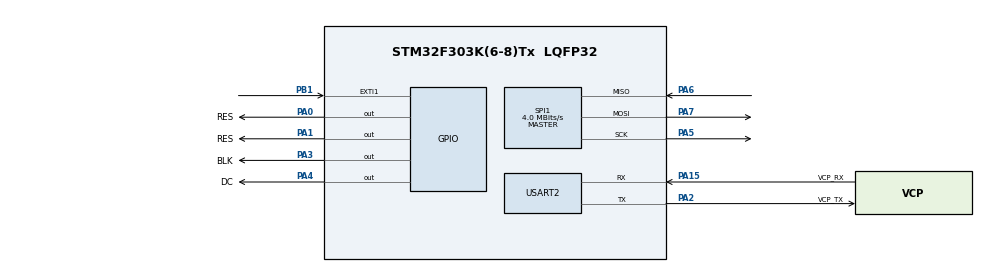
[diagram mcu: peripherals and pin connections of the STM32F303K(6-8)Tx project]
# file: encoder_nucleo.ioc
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Mcu.Family=STM32F3
Mcu.Name=STM32F303K(6-8)Tx
Mcu.Package=LQFP32
NVIC.EXTI1_IRQn=true\:0\:0\:false\:false\:true\:true\:true\:true
NVIC.PriorityGroup=NVIC_PRIORITYGROUP_4
PA0.GPIO_Label=RES
PA0.GPIO_PuPd=GPIO_PULLDOWN
PA0.Signal=GPIO_Output
PA1.GPIO_Label=RES
PA1.GPIO_PuPd=GPIO_PULLDOWN
PA1.Signal=GPIO_Output
PA13.GPIO_Label=SWDIO
PA13.Mode=Serial_Wire
PA13.Signal=SYS_JTMS-SWDIO
PA14.GPIO_Label=SWCLK
PA14.Mode=Serial_Wire
PA14.Signal=SYS_JTCK-SWCLK
PA15.GPIO_Label=VCP_RX
PA15.Mode=Asynchronous
PA15.Signal=USART2_RX
PA2.GPIO_Label=VCP_TX
PA2.Mode=Asynchronous
PA2.Signal=USART2_TX
PA3.GPIO_Label=BLK
PA3.GPIO_PuPd=GPIO_PULLDOWN
PA3.Signal=GPIO_Output
PA4.GPIO_Label=DC
PA4.GPIO_PuPd=GPIO_PULLDOWN
PA4.Signal=GPIO_Output
PA5.Mode=Full_Duplex_Master
PA5.Signal=SPI1_SCK
PA6.Mode=Full_Duplex_Master
PA6.Signal=SPI1_MISO
PA7.Mode=Full_Duplex_Master
PA7.Signal=SPI1_MOSI
PB1.GPIO_ModeDefaultEXTI=GPIO_MODE_IT_FALLING
PB1.GPIO_PuPd=GPIO_PULLUP
PB1.Signal=GPXTI1
PF0\ /\ OSC_IN.GPIO_Label=MCO
PF0\ /\ OSC_IN.Mode=HSE-External-Clock-Source
PF0\ /\ OSC_IN.Signal=RCC_OSC_IN
ProjectManager.HeapSize=0x200
ProjectManager.StackSize=0x400
ProjectManager.TargetToolchain=STM32CubeIDE
RCC.AHBFreq_Value=8000000
RCC.APB1Freq_Value=8000000
RCC.APB2Freq_Value=8000000
RCC.CortexFreq_Value=8000000
RCC.HSE_VALUE=8000000
RCC.HSI_VALUE=8000000
RCC.SYSCLKFreq_VALUE=8000000
SPI1.CalculateBaudRate=4.0 MBits/s
SPI1.DataSize=SPI_DATASIZE_8BIT
SPI1.Direction=SPI_DIRECTION_2LINES
SPI1.Mode=SPI_MODE_MASTER
SPI1.VirtualType=VM_MASTER
USART2.VirtualMode-Asynchronous=VM_ASYNC
board=NUCLEO-F303K8

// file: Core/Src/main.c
/* USER CODE BEGIN Header */
/**
  ******************************************************************************
  * @file           : main.c
  * @brief          : Main program body
  ******************************************************************************
  * @attention
  *
  * Copyright (c) 2023 STMicroelectronics.
  * All rights reserved.
  *
  * This software is licensed under terms that can be found in the LICENSE file
  * in the root directory of this software component.
  * If no LICENSE file comes with this software, it is provided AS-IS.
  *
  ******************************************************************************
  */
/* USER CODE END Header */
#include "main.h"
#include "spi.h"
#include "usart.h"
#include "gpio.h"

/* USER CODE BEGIN Includes */
#include "st7789.h"
/* USER CODE END Includes */

void SystemClock_Config(void);
/* USER CODE BEGIN PFP */
char* parser(uint16_t);
/* USER CODE END PFP */

/* USER CODE BEGIN 0 */
//uint16_t* im =

/* USER CODE END 0 */

int main(void)
{

  /* MCU Configuration--------------------------------------------------------*/

  /* Reset of all peripherals, Initializes the Flash interface and the Systick. */
  HAL_Init();

  /* Configure the system clock */
  SystemClock_Config();

  /* Initialize all configured peripherals */
  MX_GPIO_Init();
  MX_USART2_UART_Init();
  MX_SPI1_Init();
  /* USER CODE BEGIN 2 */
  uint16_t number;
  extern uint8_t flag_change;
  number = 0;
  flag_change = 0;
  ST7789_Init(130, 131);
  ST7789_MemAccessModeSet(3, 0, 0, 1);
  ST7789_InversionMode(0);
  ST7789_SetBL(100);
//  uint16_t orange = RGB565(255, 102, 0);
//  uint16_t brown = RGB565(128, 64, 48);
//  uint16_t pink = RGB565(252, 15, 192);
//  ST7789_FillScreen(BLACK);
//  HAL_Delay(500);
////  ST7789_DrawCircleFilled(20, 30, 10, GREEN);
//  ST7789_String(21, 60, "reSET", BLACK, orange);
//  ST7789_DrawRectangleFilled(10, 30+7, 40, 40+7, brown);
//  ST7789_DrawRectangleFilled(10, 20+7, 40, 30+7, YELLOW);
//  ST7789_DrawRectangleFilled(10, 10+7, 40, 20+7, pink);
//  ST7789_DrawCircleFilled(25, 10, 5, RED);
//  char str_numb [10];
//  snprintf(str_numb, sizeof(str_numb), "%i", number);
//  ST7789_String(56, 100, str_numb, BLACK, WHITE);
uint16_t *im = {119, 103, 103, 109, 145, 143, 139, 139, 139, 139, 139, 139, 139, 139, 139, 139, 139, 139, 139, 139, 132, 126, 125, 124, 136, 139, 138, 140, 140, 140, 144, 140, 138, 138, 138, 137, 138, 138, 138, 136, 139, 135, 112, 255, 255, 254, 255, 255, 255, 255,
		55, 33, 32, 33, 63, 81, 77, 77, 76, 77, 77, 77, 77, 77, 76, 77, 77, 78, 77, 77, 84, 85, 80, 59, 61, 62, 66, 68, 82, 85, 82, 84, 87, 87, 87, 87, 87, 87, 87, 84, 78, 74, 46, 255, 255, 255, 255, 255, 255, 255,
		60, 38, 35, 28, 35, 81, 79, 79, 83, 81, 81, 81, 81, 80, 81, 81, 81, 81, 81, 80, 87, 81, 84, 81, 81, 60, 50, 55, 57, 64, 85, 81, 75, 75, 75, 77, 77, 75, 75, 75, 82, 72, 43, 255, 255, 255, 255, 255, 255, 255,
		54, 32, 32, 34, 40, 68, 77, 81, 86, 86, 86, 84, 81, 81, 80, 81, 81, 81, 81, 81, 81, 81, 81, 81, 81, 79, 76, 78, 63, 62, 61, 61, 63, 75, 75, 82, 85, 80, 80, 80, 66, 84, 255, 254, 255, 255, 255, 255, 255, 255,
		54, 32, 32, 31, 37, 39, 59, 60, 66, 79, 83, 84, 81, 81, 81, 81, 81, 81, 81, 81, 81, 81, 80, 81, 81, 81, 84, 81, 79, 79, 59, 51, 57, 63, 64, 77, 89, 80, 80, 87, 70, 66, 255, 255, 254, 255, 255, 255, 255, 255,
		48, 28, 30, 33, 32, 29, 42, 46, 51, 64, 71, 83, 81, 79, 81, 81, 81, 80, 81, 81, 81, 81, 81, 81, 81, 83, 84, 85, 84, 86, 86, 79, 78, 61, 53, 57, 65, 80, 80, 77, 72, 72, 255, 255, 255, 255, 255, 255, 255, 255,
		76, 30, 31, 32, 32, 34, 57, 77, 77, 64, 51, 66, 63, 61, 76, 81, 80, 81, 81, 81, 81, 81, 81, 81, 81, 81, 81, 81, 80, 81, 81, 81, 81, 81, 79, 65, 55, 80, 80, 82, 71, 62, 255, 255, 255, 255, 254, 255, 255, 255,
		101, 43, 33, 32, 32, 26, 42, 75, 83, 86, 80, 59, 54, 53, 67, 73, 81, 81, 81, 81, 81, 81, 80, 81, 81, 81, 81, 81, 81, 81, 81, 81, 81, 81, 81, 86, 77, 80, 80, 82, 71, 62, 255, 255, 255, 255, 255, 255, 255, 255,
		90, 50, 34, 28, 32, 31, 38, 63, 70, 78, 85, 82, 80, 82, 58, 56, 72, 65, 69, 79, 84, 81, 81, 79, 79, 79, 81, 81, 81, 81, 81, 81, 81, 81, 81, 81, 80, 80, 80, 80, 72, 73, 255, 255, 255, 255, 255, 255, 255, 255,
		97, 69, 37, 29, 32, 36, 30, 43, 72, 81, 85, 80, 80, 80, 80, 74, 62, 56, 59, 63, 66, 81, 85, 79, 83, 83, 81, 81, 81, 81, 81, 79, 81, 81, 85, 80, 82, 81, 80, 77, 94, 56, 255, 255, 255, 255, 255, 255, 255, 255,
		103, 79, 55, 34, 30, 33, 33, 37, 57, 71, 81, 81, 80, 80, 82, 85, 81, 75, 84, 50, 55, 68, 68, 65, 79, 81, 81, 81, 79, 81, 81, 81, 80, 81, 85, 80, 82, 80, 80, 72, 58, 197, 255, 255, 255, 255, 255, 255, 255, 255,
		108, 88, 78, 38, 30, 32, 32, 32, 38, 77, 87, 76, 77, 80, 81, 77, 77, 74, 94, 86, 71, 60, 53, 55, 64, 62, 76, 79, 77, 84, 86, 79, 81, 81, 84, 75, 82, 80, 80, 80, 62, 255, 254, 255, 255, 255, 255, 255, 255, 255,
		96, 75, 74, 55, 33, 34, 32, 32, 35, 74, 85, 79, 82, 82, 72, 74, 88, 88, 82, 82, 82, 81, 80, 74, 57, 53, 64, 66, 66, 81, 80, 81, 81, 81, 79, 78, 82, 80, 80, 79, 60, 255, 255, 254, 254, 255, 255, 255, 255, 255,
		100, 79, 81, 79, 36, 32, 32, 32, 35, 67, 81, 81, 84, 81, 80, 73, 81, 79, 80, 81, 76, 85, 89, 86, 80, 72, 60, 57, 55, 66, 73, 81, 81, 81, 81, 84, 84, 80, 80, 80, 59, 255, 255, 255, 255, 255, 255, 254, 255, 255,
		90, 78, 81, 82, 58, 36, 27, 36, 33, 38, 81, 84, 81, 79, 81, 85, 88, 78, 81, 91, 84, 74, 85, 85, 82, 82, 80, 77, 71, 57, 54, 71, 65, 69, 83, 87, 93, 75, 75, 77, 54, 255, 255, 255, 255, 255, 255, 255, 255, 255,
		48, 63, 84, 72, 73, 42, 33, 31, 34, 38, 58, 61, 69, 88, 88, 83, 74, 86, 85, 87, 79, 76, 84, 80, 80, 80, 79, 79, 81, 81, 74, 55, 49, 51, 58, 61, 80, 94, 85, 76, 56, 255, 255, 255, 255, 255, 255, 255, 255, 255,
		52, 35, 64, 68, 68, 52, 34, 28, 26, 31, 38, 49, 52, 72, 61, 75, 92, 89, 81, 75, 74, 79, 87, 75, 78, 74, 80, 80, 80, 80, 79, 72, 88, 79, 58, 57, 63, 65, 73, 79, 61, 255, 255, 255, 255, 255, 255, 255, 255, 255,
		54, 32, 33, 53, 62, 67, 39, 27, 27, 34, 45, 67, 74, 60, 54, 66, 68, 77, 79, 81, 77, 78, 81, 76, 81, 76, 81, 87, 84, 80, 87, 82, 80, 80, 82, 70, 55, 56, 75, 74, 232, 255, 255, 255, 255, 255, 255, 255, 255, 255,
		54, 32, 38, 74, 84, 71, 51, 32, 29, 32, 38, 61, 84, 83, 70, 55, 47, 47, 67, 73, 83, 84, 81, 77, 81, 85, 85, 79, 77, 75, 79, 80, 80, 80, 84, 87, 93, 86, 76, 79, 255, 255, 255, 255, 255, 255, 255, 255, 255, 255,
		54, 32, 32, 60, 88, 78, 67, 37, 34, 34, 30, 35, 69, 85, 82, 80, 77, 72, 62, 50, 63, 62, 64, 78, 85, 85, 81, 76, 74, 79, 77, 83, 80, 80, 81, 81, 78, 86, 76, 70, 255, 255, 255, 255, 255, 255, 255, 254, 255, 255,
		54, 32, 28, 42, 77, 78, 76, 56, 36, 32, 32, 38, 64, 82, 81, 82, 91, 83, 85, 81, 52, 51, 53, 65, 66, 65, 72, 79, 83, 84, 84, 81, 89, 82, 80, 80, 80, 81, 76, 70, 255, 255, 255, 254, 255, 255, 255, 255, 255, 255,
		54, 32, 32, 46, 73, 84, 84, 79, 36, 32, 32, 30, 40, 79, 84, 76, 81, 91, 91, 88, 83, 83, 77, 51, 49, 48, 66, 69, 84, 89, 89, 77, 76, 80, 77, 80, 80, 81, 76, 70, 255, 255, 255, 255, 255, 255, 254, 255, 255, 255,
		54, 32, 32, 32, 40, 60, 81, 86, 52, 36, 32, 34, 34, 69, 80, 81, 83, 78, 78, 75, 77, 80, 80, 80, 82, 75, 56, 49, 61, 66, 65, 84, 77, 90, 80, 82, 80, 77, 76, 70, 255, 255, 255, 254, 255, 255, 255, 255, 255, 255,
		54, 32, 32, 32, 32, 34, 74, 81, 72, 39, 31, 31, 23, 38, 76, 83, 81, 88, 84, 81, 84, 84, 82, 71, 80, 82, 75, 69, 55, 55, 51, 68, 65, 82, 78, 94, 77, 77, 74, 65, 255, 255, 255, 255, 255, 255, 255, 255, 255, 255,
		54, 32, 32, 32, 32, 37, 71, 85, 68, 39, 31, 32, 26, 35, 52, 66, 74, 72, 81, 81, 85, 85, 84, 73, 81, 80, 85, 87, 80, 86, 75, 50, 53, 69, 66, 84, 78, 74, 82, 199, 255, 255, 255, 255, 255, 255, 255, 255, 255, 255,
		57, 31, 31, 32, 32, 32, 37, 64, 53, 49, 31, 32, 25, 35, 62, 55, 54, 55, 68, 69, 81, 81, 81, 79, 84, 76, 75, 81, 78, 85, 81, 74, 77, 54, 59, 80, 81, 71, 105, 255, 255, 255, 255, 255, 255, 255, 255, 255, 255, 255,
		70, 36, 33, 32, 32, 32, 33, 42, 75, 75, 52, 35, 32, 32, 37, 77, 88, 74, 60, 49, 67, 67, 68, 79, 79, 79, 81, 83, 76, 81, 86, 90, 85, 78, 79, 80, 80, 77, 89, 255, 255, 255, 255, 255, 255, 255, 255, 255, 255, 255,
		80, 37, 33, 32, 32, 35, 33, 35, 60, 80, 74, 41, 32, 32, 34, 61, 80, 86, 85, 68, 53, 51, 54, 68, 68, 65, 76, 80, 79, 79, 85, 81, 84, 85, 80, 80, 80, 77, 88, 255, 255, 255, 255, 255, 255, 255, 255, 255, 255, 255,
		78, 52, 33, 31, 37, 34, 33, 32, 38, 73, 79, 53, 35, 32, 28, 35, 72, 81, 84, 71, 80, 80, 74, 49, 52, 52, 65, 69, 81, 81, 85, 81, 77, 76, 77, 80, 79, 77, 88, 255, 255, 255, 255, 255, 255, 255, 255, 255, 255, 255,
		103, 82, 50, 32, 28, 28, 32, 32, 32, 70, 85, 62, 35, 32, 31, 33, 75, 81, 85, 79, 78, 80, 86, 78, 80, 76, 58, 53, 72, 72, 69, 79, 74, 84, 80, 80, 80, 77, 89, 255, 255, 255, 255, 255, 255, 255, 255, 255, 255, 255,
		107, 91, 72, 55, 23, 35, 32, 32, 32, 38, 65, 54, 47, 32, 31, 32, 60, 67, 68, 81, 80, 74, 81, 83, 82, 80, 82, 73, 57, 54, 55, 67, 62, 70, 80, 79, 80, 77, 88, 255, 255, 255, 255, 255, 255, 255, 255, 255, 255, 255,
		101, 83, 79, 74, 32, 32, 28, 36, 28, 21, 42, 75, 63, 35, 33, 32, 32, 56, 58, 65, 66, 79, 87, 82, 79, 76, 80, 83, 81, 81, 77, 58, 52, 66, 64, 77, 80, 71, 199, 255, 255, 255, 255, 255, 255, 255, 255, 255, 255, 255,
		97, 87, 81, 63, 38, 31, 31, 30, 26, 23, 41, 71, 69, 51, 35, 32, 32, 57, 67, 55, 52, 70, 68, 65, 76, 84, 81, 82, 82, 81, 77, 77, 69, 54, 56, 77, 72, 58, 255, 255, 255, 255, 255, 255, 255, 255, 255, 255, 255, 255,
		102, 70, 67, 54, 63, 54, 39, 26, 32, 33, 38, 57, 86, 80, 37, 32, 32, 43, 72, 78, 68, 59, 53, 51, 63, 65, 67, 81, 76, 76, 77, 81, 78, 75, 75, 83, 75, 30, 255, 255, 255, 255, 255, 255, 255, 255, 255, 255, 255, 255,
		89, 55, 60, 76, 81, 74, 52, 28, 27, 32, 32, 35, 73, 88, 53, 38, 30, 39, 68, 89, 80, 81, 77, 68, 54, 49, 47, 67, 71, 84, 81, 80, 82, 81, 82, 82, 77, 59, 255, 255, 255, 255, 255, 255, 255, 255, 255, 255, 255, 255,
		55, 54, 63, 64, 64, 64, 59, 43, 33, 32, 32, 28, 36, 56, 54, 39, 32, 30, 43, 57, 64, 64, 66, 71, 62, 61, 55, 33, 36, 62, 64, 62, 64, 64, 65, 65, 63, 40, 255, 255, 255, 255, 255, 255, 255, 255, 255, 255, 255, 255,
		61, 35, 31, 35, 35, 34, 37, 32, 30, 32, 32, 39, 27, 28, 31, 30, 30, 36, 32, 28, 35, 35, 35, 32, 36, 36, 31, 28, 30, 39, 35, 32, 35, 35, 35, 35, 35, 50, 255, 255, 255, 255, 255, 255, 255, 255, 255, 255, 255, 255,
		48, 30, 33, 28, 28, 28, 30, 30, 33, 32, 28, 32, 32, 32, 33, 28, 26, 32, 32, 32, 31, 36, 38, 35, 36, 39, 35, 36, 32, 30, 28, 32, 30, 26, 36, 39, 38, 43, 254, 254, 255, 255, 255, 255, 255, 255, 255, 255, 255, 255,
		60, 50, 52, 54, 56, 55, 54, 54, 54, 40, 33, 32, 32, 32, 39, 50, 35, 32, 31, 33, 50, 29, 23, 27, 26, 44, 54, 56, 54, 56, 56, 52, 36, 32, 37, 39, 41, 223, 255, 255, 255, 255, 255, 255, 255, 255, 255, 255, 255, 255,
		69, 68, 70, 77, 78, 79, 79, 72, 68, 45, 40, 34, 32, 32, 42, 65, 42, 32, 32, 35, 68, 56, 56, 50, 49, 66, 70, 71, 77, 78, 77, 68, 41, 36, 57, 63, 65, 255, 255, 255, 255, 255, 255, 255, 255, 255, 255, 255, 255, 255,
		86, 44, 34, 68, 81, 70, 66, 46, 43, 45, 45, 29, 33, 31, 28, 32, 32, 32, 32, 32, 35, 76, 78, 82, 73, 43, 42, 53, 72, 77, 68, 34, 28, 44, 72, 77, 52, 255, 255, 255, 255, 255, 255, 255, 255, 255, 255, 255, 255, 255,
		74, 41, 37, 39, 67, 55, 50, 72, 87, 84, 72, 55, 37, 33, 32, 32, 32, 32, 32, 32, 34, 64, 85, 81, 78, 83, 81, 70, 53, 38, 34, 32, 35, 63, 74, 80, 54, 254, 255, 255, 255, 255, 255, 255, 255, 255, 255, 255, 255, 255,
		87, 61, 39, 33, 37, 65, 67, 80, 79, 78, 79, 79, 39, 38, 32, 32, 32, 32, 32, 32, 32, 30, 68, 71, 69, 88, 82, 78, 63, 37, 38, 46, 41, 47, 72, 80, 54, 255, 255, 255, 255, 255, 255, 255, 255, 255, 255, 255, 255, 255,
		183, 71, 68, 53, 31, 30, 33, 64, 79, 79, 66, 62, 32, 36, 35, 32, 32, 32, 32, 32, 28, 29, 54, 54, 63, 62, 63, 59, 41, 27, 56, 84, 82, 75, 74, 80, 54, 255, 254, 255, 255, 255, 255, 255, 255, 255, 255, 255, 255, 255,
		255, 166, 79, 81, 53, 31, 32, 40, 66, 65, 46, 45, 52, 52, 35, 32, 32, 32, 32, 32, 28, 34, 69, 77, 58, 46, 33, 28, 30, 35, 80, 86, 86, 78, 74, 80, 54, 255, 255, 255, 255, 255, 255, 255, 255, 255, 255, 255, 255, 255,
		254, 255, 148, 70, 62, 51, 38, 33, 40, 42, 63, 72, 81, 75, 51, 35, 32, 32, 32, 32, 28, 28, 46, 78, 80, 64, 32, 29, 45, 53, 71, 63, 79, 81, 75, 82, 161, 255, 255, 255, 255, 255, 255, 255, 255, 255, 255, 255, 255, 255,
		255, 255, 255, 200, 172, 66, 54, 50, 35, 32, 44, 66, 78, 82, 77, 43, 29, 32, 32, 34, 49, 38, 42, 77, 71, 39, 38, 59, 77, 69, 57, 51, 69, 67, 67, 90, 255, 255, 255, 255, 255, 255, 255, 255, 255, 255, 255, 255, 255, 255,
		255, 255, 254, 255, 255, 163, 74, 84, 38, 30, 30, 39, 62, 85, 81, 56, 37, 32, 31, 38, 73, 39, 40, 60, 39, 36, 52, 87, 90, 76, 76, 68, 55, 55, 66, 95, 255, 254, 255, 255, 255, 255, 255, 255, 255, 255, 255, 255, 255, 255,
		254, 254, 255, 255, 254, 255, 124, 76, 74, 51, 43, 25, 27, 73, 76, 81, 43, 32, 32, 38, 68, 48, 38, 32, 35, 50, 68, 73, 84, 84, 80, 79, 74, 82, 78, 66, 255, 255, 255, 255, 255, 255, 255, 255, 255, 255, 255, 255, 255, 255,
		254, 255, 255, 255, 255, 255, 255, 182, 65, 90, 79, 49, 40, 35, 40, 62, 29, 32, 32, 32, 38, 60, 38, 33, 39, 72, 80, 85, 91, 88, 85, 75, 81, 74, 78, 72, 255, 255, 255, 255, 255, 255, 255, 255, 255, 255, 255, 255, 255, 254		};
uint16_t num = 0;
  for (int i =0; i<50;i++){
	  for (int j = 0; j < 50; j++){
		  ST7789_DrawPixel(i, j, RGB565(0,0,im[num]));
		  num++;
	  }
  }
  /* USER CODE END 2 */

  /* Infinite loop */
  /* USER CODE BEGIN WHILE */
  while (1)
  {
//	  if (flag_change == 1){
//		  number++;
//		  snprintf(str_numb, sizeof(str_numb), "%i", number);
//		  if(number < 10)
//			  ST7789_String(56, 100, str_numb, BLACK, WHITE);
//		  else if (number < 100)
//			  ST7789_String(47, 100, str_numb, BLACK, WHITE);
//		  else
//			  ST7789_String(39, 100, str_numb, BLACK, WHITE);
//		  flag_change = 0;
//		  if (number == 15){
//			  ST7789_FillScreen(BLACK);
//			  ST7789_String(30, 0, "Very", BLACK, WHITE);
//			  ST7789_String(13, 50, "Simple", BLACK, WHITE);
//			  ST7789_String(30, 100, "Task", BLACK, WHITE);
//		  }
//		  if (number == 16){
//			  ST7789_FillScreen(BLACK);
//			  ST7789_String(21, 60, "reSET", BLACK, orange);
//			  ST7789_DrawRectangleFilled(10, 30+7, 40, 40+7, brown);
//			  ST7789_DrawRectangleFilled(10, 20+7, 40, 30+7, YELLOW);
//			  ST7789_DrawRectangleFilled(10, 10+7, 40, 20+7, pink);
//			  ST7789_DrawCircleFilled(25, 10, 5, RED);
//			  ST7789_String(47, 100, str_numb, BLACK, WHITE);
//		  }
//	  }

    /* USER CODE END WHILE */

  }
}

void SystemClock_Config(void)
{
  LL_FLASH_SetLatency(LL_FLASH_LATENCY_0);
  while(LL_FLASH_GetLatency()!= LL_FLASH_LATENCY_0)
  {
  }
  LL_RCC_HSI_Enable();

   /* Wait till HSI is ready */
  while(LL_RCC_HSI_IsReady() != 1)
  {

  }
  LL_RCC_HSI_SetCalibTrimming(16);
  LL_RCC_SetAHBPrescaler(LL_RCC_SYSCLK_DIV_1);
  LL_RCC_SetAPB1Prescaler(LL_RCC_APB1_DIV_1);
  LL_RCC_SetAPB2Prescaler(LL_RCC_APB2_DIV_1);
  LL_RCC_SetSysClkSource(LL_RCC_SYS_CLKSOURCE_HSI);

   /* Wait till System clock is ready */
  while(LL_RCC_GetSysClkSource() != LL_RCC_SYS_CLKSOURCE_STATUS_HSI)
  {

  }
  LL_SetSystemCoreClock(8000000);

   /* Update the time base */
  if (HAL_InitTick (TICK_INT_PRIORITY) != HAL_OK)
  {
    Error_Handler();
  }
}

/* USER CODE BEGIN 4 */
char* parser(uint16_t number){
	char str_numb [3];
	snprintf(str_numb, sizeof(str_numb), "%d", number);
	return str_numb;
}
/* USER CODE END 4 */

void Error_Handler(void)
{
  __disable_irq();
  while (1)
  {
  }
}
